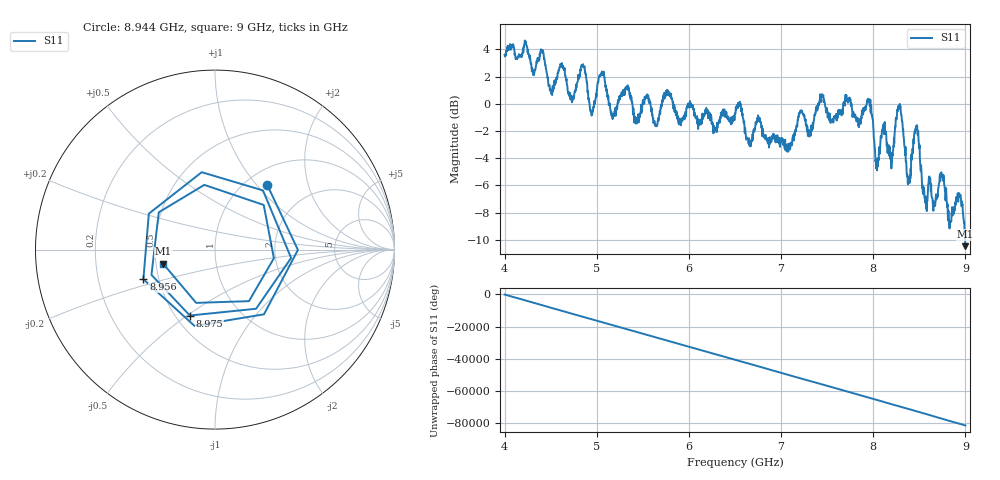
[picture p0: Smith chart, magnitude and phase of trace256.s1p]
! Created with skrf 1.8.0 (http://scikit-rf.org).
# Hz S RI R 50.0
!freq ReS11 ImS11
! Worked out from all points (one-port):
!   1601 points, 4 GHz to 9 GHz, reference 50 ohm
!   lowest |S11| = -10.5 dB at 9 GHz (marker M1), VSWR 1.85, Z = 27.3 - j4.71 ohm
!   |S11| at or under -10 dB: 8.996853 GHz to end of sweep
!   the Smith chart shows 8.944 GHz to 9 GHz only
!   S11 on the Smith chart (normalised r, x): 8.944 GHz: 1.24, +1.14; 8.956 GHz: 0.41, -0.17; 8.975 GHz: 0.59, -0.51; 9 GHz: 0.55, -0.09
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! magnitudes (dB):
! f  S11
! 4 GHz  3.6
! 4.406 GHz  3.9
! 4.506 GHz  0.7
! 4.625 GHz  2.8
! 4.728 GHz  0.2
! 4.853 GHz  2.8
! 4.944 GHz  -0.9
! 5.05 GHz  2.2
! 5.172 GHz  -1.1
! 5.25 GHz  0.3
! 5.875 GHz  -0.9
! 6.5 GHz  -0.7
! 6.659 GHz  -3.1
! 7.125 GHz  -2.5
! 7.434 GHz  0.5
! 7.75 GHz  0.3
! 7.956 GHz  0.1
! 8.047 GHz  -4.6
! 8.116 GHz  -1.7
! 8.197 GHz  -4.8
! 8.284 GHz  -0.1
! 8.375 GHz  -5.9
! 8.469 GHz  -1.8
! 8.562 GHz  -6.9
! 8.944 GHz  -6.7
! 8.956 GHz  -7.3
! 8.975 GHz  -8.1
! 9 GHz  -10.5
